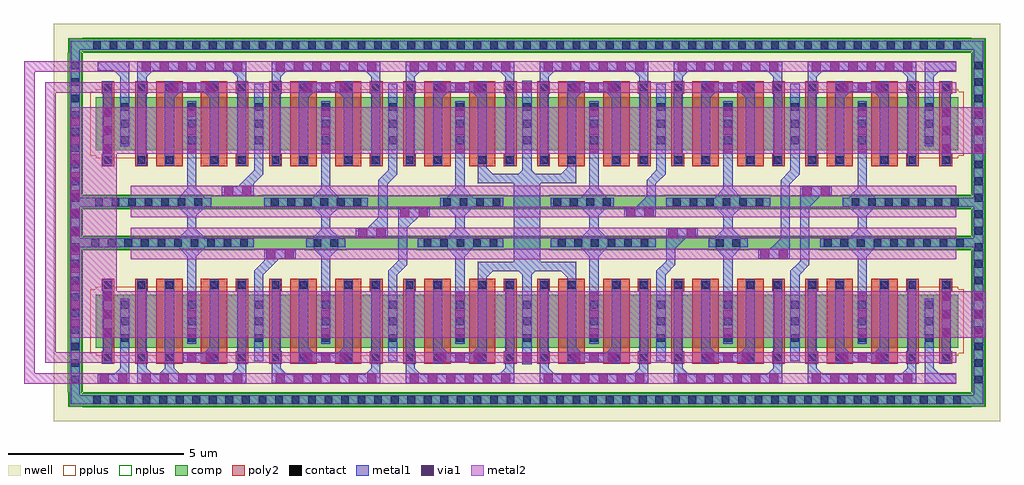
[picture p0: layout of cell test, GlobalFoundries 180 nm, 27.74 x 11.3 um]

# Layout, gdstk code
import gdstk
lib = gdstk.Library(unit=1e-6, precision=1e-09)
def R(c, l, rs):  # rectangles x0, y0, x1, y1
    for r in rs: c.add(gdstk.rectangle(r[:2], r[2:], *l))
def A(c, l, x, y, w, h, nx, ny, dx, dy):  # array of equal rectangles
    R(c, l, [(x+i*dx, y+j*dy, x+i*dx+w, y+j*dy+h) for i in range(nx) for j in range(ny)])
def P(c, l, *ps):  # polygons
    for p in ps: c.add(gdstk.Polygon(p, *l))
nwell = (21, 0)
comp = (22, 0)
poly2 = (30, 0)
pplus = (31, 0)
nplus = (32, 0)
contact = (33, 0)
metal1 = (34, 0)
via1 = (35, 0)
metal2 = (36, 0)

test = lib.new_cell('test')
R(test, nwell, [(8.07,10.815,34.96,22.115)])
R(test, comp, [(8.5,11.245,34.53,11.605), (8.5,11.605,8.86,15.705), (34.17,11.605,34.53,15.705), (9.26,12.905,33.77,14.405), (8.5,15.705,34.53,16.065), (8.5,16.065,8.86,16.865), (34.17,16.065,34.53,16.865), (8.5,16.865,34.53,17.225), (8.5,17.225,8.86,21.325), (34.17,17.225,34.53,21.325), (9.26,18.525,33.77,20.025), (8.5,21.325,34.53,21.685)])
R(test, poly2, [(9.43,12.445,9.79,12.805), (10.38,12.445,10.74,12.805), (10.98,12.445,11.73,14.865), (12.25,12.445,13,14.865), (13.24,12.445,13.6,12.805), (14.19,12.445,14.55,12.805), (14.79,12.445,15.54,14.865), (16.06,12.445,16.81,14.865), (17.05,12.445,17.41,12.805), (18,12.445,18.36,12.805), (18.6,12.445,19.35,14.865), (19.87,12.445,20.62,14.865), (20.86,12.445,21.22,12.805), (21.81,12.445,22.17,12.805), (22.41,12.445,23.16,14.865), (23.68,12.445,24.43,14.865), (24.67,12.445,25.03,12.805), (25.62,12.445,25.98,12.805), (26.22,12.445,26.97,14.865), (27.49,12.445,28.24,14.865), (28.48,12.445,28.84,12.805), (29.43,12.445,29.79,12.805), (30.03,12.445,30.78,14.865), (31.3,12.445,32.05,14.865), (32.29,12.445,32.65,12.805), (33.24,12.445,33.6,12.805), (9.49,12.805,9.79,14.505), (10.38,12.805,10.68,14.505), (13.3,12.805,13.6,14.505), (14.19,12.805,14.49,14.505), (17.11,12.805,17.41,14.505), (18,12.805,18.3,14.505), (20.92,12.805,21.22,14.505), (21.81,12.805,22.11,14.505), (24.73,12.805,25.03,14.505), (25.62,12.805,25.92,14.505), (28.54,12.805,28.84,14.505), (29.43,12.805,29.73,14.505), (32.35,12.805,32.65,14.505), (33.24,12.805,33.54,14.505), (9.43,14.505,9.79,14.865), (10.38,14.505,10.74,14.865), (13.24,14.505,13.6,14.865), (14.19,14.505,14.55,14.865), (17.05,14.505,17.41,14.865), (18,14.505,18.36,14.865), (20.86,14.505,21.22,14.865), (21.81,14.505,22.17,14.865), (24.67,14.505,25.03,14.865), (25.62,14.505,25.98,14.865), (28.48,14.505,28.84,14.865), (29.43,14.505,29.79,14.865), (32.29,14.505,32.65,14.865), (33.24,14.505,33.6,14.865), (9.43,18.065,9.79,18.425), (10.38,18.065,10.74,18.425), (10.98,18.065,11.73,20.485), (12.25,18.065,13,20.485), (13.24,18.065,13.6,18.425), (14.19,18.065,14.55,18.425), (14.79,18.065,15.54,20.485), (16.06,18.065,16.81,20.485), (17.05,18.065,17.41,18.425), (18,18.065,18.36,18.425), (18.6,18.065,19.35,20.485), (19.87,18.065,20.62,20.485), (20.86,18.065,21.22,18.425), (21.81,18.065,22.17,18.425), (22.41,18.065,23.16,20.485), (23.68,18.065,24.43,20.485), (24.67,18.065,25.03,18.425), (25.62,18.065,25.98,18.425), (26.22,18.065,26.97,20.485), (27.49,18.065,28.24,20.485), (28.48,18.065,28.84,18.425), (29.43,18.065,29.79,18.425), (30.03,18.065,30.78,20.485), (31.3,18.065,32.05,20.485), (32.29,18.065,32.65,18.425), (33.24,18.065,33.6,18.425), (9.49,18.425,9.79,20.125), (10.38,18.425,10.68,20.125), (13.3,18.425,13.6,20.125), (14.19,18.425,14.49,20.125), (17.11,18.425,17.41,20.125), (18,18.425,18.3,20.125), (20.92,18.425,21.22,20.125), (21.81,18.425,22.11,20.125), (24.73,18.425,25.03,20.125), (25.62,18.425,25.92,20.125), (28.54,18.425,28.84,20.125), (29.43,18.425,29.73,20.125), (32.35,18.425,32.65,20.125), (33.24,18.425,33.54,20.125), (9.43,20.125,9.79,20.485), (10.38,20.125,10.74,20.485), (13.24,20.125,13.6,20.485), (14.19,20.125,14.55,20.485), (17.05,20.125,17.41,20.485), (18,20.125,18.36,20.485), (20.86,20.125,21.22,20.485), (21.81,20.125,22.17,20.485), (24.67,20.125,25.03,20.485), (25.62,20.125,25.98,20.485), (28.48,20.125,28.84,20.485), (29.43,20.125,29.79,20.485), (32.29,20.125,32.65,20.485), (33.24,20.125,33.6,20.485)])
R(test, pplus, [(9.26,12.675,33.77,12.745), (9.1,12.745,33.93,14.565), (9.26,14.565,33.77,14.635), (9.26,18.295,33.77,18.365), (9.1,18.365,33.93,20.185), (9.26,20.185,33.77,20.255)])
R(test, nplus, [(8.89,11.215,34.14,11.225), (8.48,11.225,34.55,11.635), (8.47,11.635,8.89,15.675), (34.14,11.635,34.56,15.675), (8.47,15.675,13.785,15.685), (15.205,15.675,16.395,15.685), (18.375,15.675,20.88,15.685), (22.15,15.675,25.215,15.685), (26.635,15.675,27.825,15.685), (29.805,15.675,34.56,15.685), (8.47,15.685,34.56,16.085), (8.47,16.085,13.785,16.095), (15.205,16.085,16.395,16.095), (18.375,16.085,20.88,16.095), (22.15,16.085,25.215,16.095), (26.635,16.085,27.825,16.095), (29.805,16.085,34.56,16.095), (8.47,16.095,8.89,16.835), (34.14,16.095,34.56,16.835), (8.47,16.835,12.585,16.845), (14.005,16.835,17.035,16.845), (19.015,16.835,20.88,16.845), (22.15,16.835,24.015,16.845), (25.435,16.835,28.465,16.845), (30.445,16.835,34.56,16.845), (8.47,16.845,34.56,17.245), (8.47,17.245,12.585,17.255), (14.005,17.245,17.035,17.255), (19.015,17.245,20.88,17.255), (22.15,17.245,24.015,17.255), (25.435,17.245,28.465,17.255), (30.445,17.245,34.56,17.255), (8.47,17.255,8.89,21.295), (34.14,17.255,34.56,21.295), (8.48,21.295,34.55,21.705), (8.89,21.705,34.14,21.715)])
A(test, contact, 9.185, 11.315, 0.22, 0.22, 53, 2, 0.47, 10.08)
A(test, contact, 8.57, 11.89, 0.22, 0.22, 1, 20, 0, 0.47)
A(test, contact, 34.24, 11.89, 0.22, 0.22, 1, 20, 0, 0.47)
A(test, contact, 9.975, 13.075, 0.22, 0.22, 13, 3, 1.905, 0.47)
A(test, contact, 9.135, 15.775, 0.22, 0.22, 10, 1, 0.47, 0)
A(test, contact, 18.575, 15.775, 0.22, 0.22, 5, 1, 0.47, 0)
A(test, contact, 22.395, 15.775, 0.22, 0.22, 6, 1, 0.47, 0)
A(test, contact, 29.955, 15.775, 0.22, 0.22, 9, 1, 0.47, 0)
A(test, contact, 9.24, 16.935, 0.22, 0.22, 7, 1, 0.47, 0)
A(test, contact, 14.235, 16.935, 0.22, 0.22, 6, 1, 0.47, 0)
A(test, contact, 19.13, 16.935, 0.22, 0.22, 4, 1, 0.47, 0)
A(test, contact, 22.265, 16.935, 0.22, 0.22, 4, 1, 0.47, 0)
A(test, contact, 25.665, 16.935, 0.22, 0.22, 6, 1, 0.47, 0)
A(test, contact, 30.745, 16.935, 0.22, 0.22, 7, 1, 0.47, 0)
A(test, contact, 9.975, 18.695, 0.22, 0.22, 13, 3, 1.905, 0.47)
R(test, contact, [(9.5,12.515,9.72,12.735), (10.45,12.515,10.67,12.735), (11.245,12.515,11.465,12.735), (12.515,12.515,12.735,12.735), (13.31,12.515,13.53,12.735), (14.26,12.515,14.48,12.735), (15.055,12.515,15.275,12.735), (16.325,12.515,16.545,12.735), (17.12,12.515,17.34,12.735), (18.07,12.515,18.29,12.735), (18.865,12.515,19.085,12.735), (20.135,12.515,20.355,12.735), (20.93,12.515,21.15,12.735), (21.88,12.515,22.1,12.735), (22.675,12.515,22.895,12.735), (23.945,12.515,24.165,12.735), (24.74,12.515,24.96,12.735), (25.69,12.515,25.91,12.735), (26.485,12.515,26.705,12.735), (27.755,12.515,27.975,12.735), (28.55,12.515,28.77,12.735), (29.5,12.515,29.72,12.735), (30.295,12.515,30.515,12.735), (31.565,12.515,31.785,12.735), (32.36,12.515,32.58,12.735), (33.31,12.515,33.53,12.735), (9.5,14.575,9.72,14.795), (10.45,14.575,10.67,14.795), (11.245,14.575,11.465,14.795), (12.515,14.575,12.735,14.795), (13.31,14.575,13.53,14.795), (14.26,14.575,14.48,14.795), (15.055,14.575,15.275,14.795), (16.325,14.575,16.545,14.795), (17.12,14.575,17.34,14.795), (18.07,14.575,18.29,14.795), (18.865,14.575,19.085,14.795), (20.135,14.575,20.355,14.795), (20.93,14.575,21.15,14.795), (21.88,14.575,22.1,14.795), (22.675,14.575,22.895,14.795), (23.945,14.575,24.165,14.795), (24.74,14.575,24.96,14.795), (25.69,14.575,25.91,14.795), (26.485,14.575,26.705,14.795), (27.755,14.575,27.975,14.795), (28.55,14.575,28.77,14.795), (29.5,14.575,29.72,14.795), (30.295,14.575,30.515,14.795), (31.565,14.575,31.785,14.795), (32.36,14.575,32.58,14.795), (33.31,14.575,33.53,14.795), (15.455,15.775,15.675,15.995), (15.925,15.775,16.145,15.995), (26.885,15.775,27.105,15.995), (27.355,15.775,27.575,15.995), (9.5,18.135,9.72,18.355), (10.45,18.135,10.67,18.355), (11.245,18.135,11.465,18.355), (12.515,18.135,12.735,18.355), (13.31,18.135,13.53,18.355), (14.26,18.135,14.48,18.355), (15.055,18.135,15.275,18.355), (16.325,18.135,16.545,18.355), (17.12,18.135,17.34,18.355), (18.07,18.135,18.29,18.355), (18.865,18.135,19.085,18.355), (20.135,18.135,20.355,18.355), (20.93,18.135,21.15,18.355), (21.88,18.135,22.1,18.355), (22.675,18.135,22.895,18.355), (23.945,18.135,24.165,18.355), (24.74,18.135,24.96,18.355), (25.69,18.135,25.91,18.355), (26.485,18.135,26.705,18.355), (27.755,18.135,27.975,18.355), (28.55,18.135,28.77,18.355), (29.5,18.135,29.72,18.355), (30.295,18.135,30.515,18.355), (31.565,18.135,31.785,18.355), (32.36,18.135,32.58,18.355), (33.31,18.135,33.53,18.355), (9.5,20.195,9.72,20.415), (10.45,20.195,10.67,20.415), (11.245,20.195,11.465,20.415), (12.515,20.195,12.735,20.415), (13.31,20.195,13.53,20.415), (14.26,20.195,14.48,20.415), (15.055,20.195,15.275,20.415), (16.325,20.195,16.545,20.415), (17.12,20.195,17.34,20.415), (18.07,20.195,18.29,20.415), (18.865,20.195,19.085,20.415), (20.135,20.195,20.355,20.415), (20.93,20.195,21.15,20.415), (21.88,20.195,22.1,20.415), (22.675,20.195,22.895,20.415), (23.945,20.195,24.165,20.415), (24.74,20.195,24.96,20.415), (25.69,20.195,25.91,20.415), (26.485,20.195,26.705,20.415), (27.755,20.195,27.975,20.415), (28.55,20.195,28.77,20.415), (29.5,20.195,29.72,20.415), (30.295,20.195,30.515,20.415), (31.565,20.195,31.785,20.415), (32.36,20.195,32.58,20.415), (33.31,20.195,33.53,20.415)])
A(test, metal1, 10.445, 11.895, 3.09, 0.26, 6, 2, 3.81, 8.88)
A(test, metal1, 15.035, 12.495, 1.53, 0.26, 5, 1, 3.81, 0)
A(test, metal1, 19.48, 13.015, 0.26, 2.7, 4, 1, 3.81, 0)
A(test, metal1, 11.64, 15.715, 0.7, 0.04, 6, 2, 3.81, 0.3)
A(test, metal1, 11.86, 16.055, 0.26, 0.82, 6, 1, 3.81, 0)
A(test, metal1, 11.64, 16.875, 0.7, 0.04, 6, 2, 3.81, 0.3)
A(test, metal1, 19.48, 17.215, 0.26, 2.7, 3, 1, 3.81, 0)
A(test, metal1, 11.225, 20.175, 1.53, 0.26, 6, 1, 3.81, 0)
R(test, metal1, [(8.55,11.295,34.48,11.555), (8.55,11.555,8.81,15.755), (34.22,11.555,34.48,15.755), (9.315,11.895,10.215,12.155), (32.815,11.895,33.715,12.155), (9.955,12.155,10.215,14.295), (10.445,12.155,10.705,14.855), (11.225,12.155,11.485,14.855), (13.275,12.155,13.535,14.855), (14.255,12.155,14.515,14.855), (17.085,12.155,17.345,14.855), (18.065,12.155,18.325,14.855), (20.895,12.155,21.155,14.855), (21.875,12.155,22.135,14.855), (24.705,12.155,24.965,14.855), (25.685,12.155,25.945,14.855), (28.515,12.155,28.775,14.855), (29.495,12.155,29.755,14.855), (32.325,12.155,32.585,14.855), (32.815,12.155,33.075,14.295), (21.385,12.435,21.645,15.085), (9.465,12.455,9.725,14.855), (12.495,12.455,12.755,12.495), (15.035,12.455,15.295,12.495), (16.305,12.455,16.565,12.495), (18.845,12.455,19.105,12.495), (20.115,12.455,20.375,12.495), (22.655,12.455,22.915,12.495), (23.925,12.455,24.185,12.495), (26.465,12.455,26.725,12.495), (27.735,12.455,27.995,12.495), (30.275,12.455,30.535,12.495), (31.545,12.455,31.805,12.495), (33.305,12.455,33.565,14.855), (11.745,12.495,12.755,12.755), (13.765,12.515,14.025,15.095), (17.575,12.515,17.835,15.095), (25.195,12.515,25.455,15.095), (29.005,12.515,29.265,15.095), (12.495,12.755,12.755,14.855), (15.035,12.755,15.295,14.855), (16.305,12.755,16.565,14.855), (18.845,12.755,19.105,14.855), (20.115,12.755,20.375,15.085), (22.655,12.755,22.915,14.985), (23.925,12.755,24.185,14.855), (26.465,12.755,26.725,14.855), (27.735,12.755,27.995,14.855), (30.275,12.755,30.535,14.855), (31.545,12.755,31.805,14.855), (11.86,13.015,12.12,15.715), (15.67,13.015,15.93,15.695), (22.585,14.985,22.915,15.085), (20.115,15.085,22.915,15.345), (13.995,15.095,14.025,15.265), (17.805,15.095,17.835,15.265), (25.425,15.095,25.455,15.265), (29.235,15.095,29.265,15.265), (13.995,15.265,14.305,15.325), (17.805,15.265,18.115,15.325), (25.425,15.265,25.735,15.325), (29.235,15.265,29.545,15.325), (14.045,15.325,14.305,15.435), (17.855,15.325,18.115,16.635), (25.475,15.325,25.735,15.77), (29.285,15.325,29.545,16.93), (21.14,15.345,21.89,17.585), (14.045,15.435,14.945,15.695), (28.085,15.435,28.985,15.695), (15.47,15.695,15.93,15.715), (28.465,15.695,28.985,15.755), (8.55,15.755,13.745,16.015), (15.245,15.755,16.355,16.015), (18.415,15.755,20.84,16.015), (22.19,15.755,25.175,16.015), (26.675,15.755,27.785,16.015), (28.48,15.755,28.985,15.77), (29.845,15.755,34.48,16.015), (25.475,15.77,25.79,16), (28.71,15.77,28.985,16), (25.475,16,26.02,16.035), (28.725,16,28.985,17.605), (8.55,16.015,8.81,16.915), (34.22,16.015,34.48,16.915), (16.655,16.035,17.555,16.295), (25.475,16.035,26.375,16.295), (17.295,16.295,17.555,17.65), (17.855,16.635,18.755,16.895), (24.275,16.635,25.175,16.895), (24.615,16.895,25.175,16.915), (8.55,16.915,12.545,17.175), (14.045,16.915,16.995,17.175), (19.055,16.915,20.84,17.175), (22.19,16.915,23.975,17.175), (24.63,16.915,25.175,16.93), (25.475,16.915,28.425,17.175), (30.485,16.915,34.48,17.175), (24.86,16.93,25.175,17.16), (29.285,16.93,29.56,17.16), (24.875,17.16,25.175,17.175), (29.285,17.16,29.79,17.235), (8.55,17.175,8.81,21.375), (24.915,17.175,25.175,17.605), (34.22,17.175,34.48,21.375), (11.86,17.215,12.12,19.915), (15.47,17.215,15.93,17.235), (30.71,17.215,31.17,17.235), (12.845,17.235,13.745,17.495), (15.67,17.235,15.93,19.915), (29.285,17.235,30.185,17.495), (30.91,17.235,31.17,19.915), (13.485,17.495,13.745,17.605), (20.115,17.585,22.915,17.845), (13.485,17.605,13.795,17.665), (24.915,17.605,25.225,17.665), (28.725,17.605,29.035,17.665), (17.295,17.65,17.65,17.665), (13.765,17.665,13.795,17.835), (17.575,17.665,17.65,17.835), (25.195,17.665,25.225,17.835), (29.005,17.665,29.035,17.835), (13.765,17.835,14.025,20.415), (17.575,17.835,17.835,20.415), (25.195,17.835,25.455,20.415), (29.005,17.835,29.265,20.415), (20.115,17.845,20.375,20.175), (21.385,17.845,21.645,20.495), (22.585,17.845,22.915,17.945), (22.655,17.945,22.915,20.175), (9.465,18.075,9.725,20.475), (10.445,18.075,10.705,20.775), (11.225,18.075,11.485,20.175), (12.495,18.075,12.755,20.175), (13.275,18.075,13.535,20.775), (14.255,18.075,14.515,20.775), (15.035,18.075,15.295,20.175), (16.305,18.075,16.565,20.175), (17.085,18.075,17.345,20.775), (18.065,18.075,18.325,20.775), (18.845,18.075,19.105,20.175), (20.895,18.075,21.155,20.775), (21.875,18.075,22.135,20.775), (23.925,18.075,24.185,20.175), (24.705,18.075,24.965,20.775), (25.685,18.075,25.945,20.775), (26.465,18.075,26.725,20.175), (27.735,18.075,27.995,20.175), (28.515,18.075,28.775,20.775), (29.495,18.075,29.755,20.775), (30.275,18.075,30.535,20.175), (31.545,18.075,31.805,20.175), (32.325,18.075,32.585,20.775), (33.305,18.075,33.565,20.475), (9.955,18.635,10.215,20.775), (32.815,18.635,33.075,20.775), (11.225,20.435,11.485,20.475), (12.495,20.435,12.755,20.475), (15.035,20.435,15.295,20.475), (16.305,20.435,16.565,20.475), (18.845,20.435,19.105,20.475), (20.115,20.435,20.375,20.475), (22.655,20.435,22.915,20.475), (23.925,20.435,24.185,20.475), (26.465,20.435,26.725,20.475), (27.735,20.435,27.995,20.475), (30.275,20.435,30.535,20.475), (31.545,20.435,31.805,20.475), (9.315,20.775,10.215,21.035), (32.815,20.775,33.715,21.035), (8.55,21.375,34.48,21.635)])
P(test, metal1, [(9.785,20.775),(9.955,20.775),(9.955,20.605)],
  [(10.705,20.605),(10.705,20.775),(10.875,20.775)],
  [(13.105,20.775),(13.275,20.775),(13.275,20.605)],
  [(11.485,20.005),(11.485,20.175),(11.655,20.175)],
  [(12.325,20.175),(12.495,20.175),(12.495,20.005)],
  [(11.64,17.215),(11.86,17.215),(11.86,17.435)],
  [(13.485,17.665),(13.765,17.665),(13.765,17.945)],
  [(14.515,20.605),(14.515,20.775),(14.685,20.775)],
  [(16.915,20.775),(17.085,20.775),(17.085,20.605)],
  [(15.295,20.005),(15.295,20.175),(15.465,20.175)],
  [(16.135,20.175),(16.305,20.175),(16.305,20.005)],
  [(13.315,17.495),(13.485,17.495),(13.485,17.665)],
  [(13.795,17.605),(13.795,17.835),(14.025,17.835)],
  [(13.745,17.555),(13.745,17.605),(13.795,17.605)],
  [(12.12,17.435),(12.12,17.215),(12.34,17.215)],
  [(15.47,17.235),(15.67,17.235),(15.67,17.435)],
  [(17.295,17.665),(17.575,17.665),(17.575,17.945)],
  [(18.325,20.605),(18.325,20.775),(18.495,20.775)],
  [(20.725,20.775),(20.895,20.775),(20.895,20.605)],
  [(19.105,20.005),(19.105,20.175),(19.275,20.175)],
  [(19.945,20.175),(20.115,20.175),(20.115,20.005)],
  [(17.65,17.65),(17.65,17.835),(17.835,17.835)],
  [(15.45,17.215),(15.47,17.215),(15.47,17.235)],
  [(15.93,17.435),(15.93,17.215),(16.15,17.215)],
  [(11.64,16.875),(11.86,16.875),(11.86,16.655)],
  [(11.64,16.055),(11.86,16.055),(11.86,16.275)],
  [(12.12,16.655),(12.12,16.875),(12.34,16.875)],
  [(15.45,16.875),(15.67,16.875),(15.67,16.655)],
  [(12.12,16.275),(12.12,16.055),(12.34,16.055)],
  [(15.45,16.055),(15.67,16.055),(15.67,16.275)],
  [(15.93,16.655),(15.93,16.875),(16.15,16.875)],
  [(16.975,16.295),(17.295,16.295),(17.295,16.615)],
  [(17.555,17.555),(17.555,17.65),(17.65,17.65)],
  [(19.26,17.215),(19.48,17.215),(19.48,17.435)],
  [(20.375,18.015),(20.375,17.845),(20.545,17.845)],
  [(21.285,17.845),(21.385,17.845),(21.385,17.945)],
  [(22.135,20.605),(22.135,20.775),(22.305,20.775)],
  [(24.535,20.775),(24.705,20.775),(24.705,20.605)],
  [(22.585,17.945),(22.655,17.945),(22.655,18.015)],
  [(22.915,20.005),(22.915,20.175),(23.085,20.175)],
  [(23.755,20.175),(23.925,20.175),(23.925,20.005)],
  [(21.645,17.945),(21.645,17.845),(21.745,17.845)],
  [(22.485,17.845),(22.585,17.845),(22.585,17.945)],
  [(19.74,17.435),(19.74,17.215),(19.96,17.215)],
  [(15.93,16.275),(15.93,16.055),(16.15,16.055)],
  [(19.26,16.875),(19.48,16.875),(19.48,16.655)],
  [(11.64,15.715),(11.86,15.715),(11.86,15.495)],
  [(9.785,12.155),(9.955,12.155),(9.955,12.325)],
  [(10.705,12.325),(10.705,12.155),(10.875,12.155)],
  [(11.055,12.155),(11.225,12.155),(11.225,12.325)],
  [(12.12,15.495),(12.12,15.715),(12.34,15.715)],
  [(15.45,15.715),(15.47,15.715),(15.47,15.695)],
  [(15.47,15.695),(15.67,15.695),(15.67,15.495)],
  [(13.995,15.325),(14.045,15.325),(14.045,15.375)],
  [(13.765,15.095),(13.995,15.095),(13.995,15.325)],
  [(14.305,15.265),(14.305,15.435),(14.475,15.435)],
  [(12.325,12.755),(12.495,12.755),(12.495,12.925)],
  [(11.485,12.325),(11.485,12.155),(11.655,12.155)],
  [(13.105,12.155),(13.275,12.155),(13.275,12.325)],
  [(14.025,14.985),(14.025,15.265),(14.305,15.265)],
  [(15.93,15.495),(15.93,15.715),(16.15,15.715)],
  [(17.805,15.325),(17.855,15.325),(17.855,15.375)],
  [(18.115,16.315),(18.115,16.635),(18.435,16.635)],
  [(19.26,16.055),(19.48,16.055),(19.48,16.275)],
  [(19.74,16.655),(19.74,16.875),(19.96,16.875)],
  [(19.74,16.275),(19.74,16.055),(19.96,16.055)],
  [(19.26,15.715),(19.48,15.715),(19.48,15.495)],
  [(17.575,15.095),(17.805,15.095),(17.805,15.325)],
  [(15.295,12.925),(15.295,12.755),(15.465,12.755)],
  [(16.135,12.755),(16.305,12.755),(16.305,12.925)],
  [(14.515,12.325),(14.515,12.155),(14.685,12.155)],
  [(16.915,12.155),(17.085,12.155),(17.085,12.325)],
  [(17.835,14.985),(17.835,15.265),(18.115,15.265)],
  [(19.74,15.495),(19.74,15.715),(19.96,15.715)],
  [(23.07,17.215),(23.29,17.215),(23.29,17.435)],
  [(24.915,17.665),(25.195,17.665),(25.195,17.945)],
  [(25.945,20.605),(25.945,20.775),(26.115,20.775)],
  [(28.345,20.775),(28.515,20.775),(28.515,20.605)],
  [(26.725,20.005),(26.725,20.175),(26.895,20.175)],
  [(27.565,20.175),(27.735,20.175),(27.735,20.005)],
  [(25.225,17.605),(25.225,17.835),(25.455,17.835)],
  [(23.55,17.435),(23.55,17.215),(23.77,17.215)],
  [(24.875,17.175),(24.915,17.175),(24.915,17.215)],
  [(25.175,17.555),(25.175,17.605),(25.225,17.605)],
  [(26.88,17.215),(27.1,17.215),(27.1,17.435)],
  [(28.725,17.665),(29.005,17.665),(29.005,17.945)],
  [(29.755,20.605),(29.755,20.775),(29.925,20.775)],
  [(32.155,20.775),(32.325,20.775),(32.325,20.605)],
  [(30.535,20.005),(30.535,20.175),(30.705,20.175)],
  [(31.375,20.175),(31.545,20.175),(31.545,20.005)],
  [(29.035,17.605),(29.035,17.835),(29.265,17.835)],
  [(27.36,17.435),(27.36,17.215),(27.58,17.215)],
  [(24.86,17.16),(24.875,17.16),(24.875,17.175)],
  [(24.63,16.93),(24.86,16.93),(24.86,17.16)],
  [(24.615,16.915),(24.63,16.915),(24.63,16.93)],
  [(24.595,16.895),(24.615,16.895),(24.615,16.915)],
  [(23.07,16.875),(23.29,16.875),(23.29,16.655)],
  [(23.07,16.055),(23.29,16.055),(23.29,16.275)],
  [(23.55,16.655),(23.55,16.875),(23.77,16.875)],
  [(26.88,16.875),(27.1,16.875),(27.1,16.655)],
  [(23.55,16.275),(23.55,16.055),(23.77,16.055)],
  [(26.88,16.055),(27.1,16.055),(27.1,16.275)],
  [(27.36,16.655),(27.36,16.875),(27.58,16.875)],
  [(27.36,16.275),(27.36,16.055),(27.58,16.055)],
  [(26.02,16),(26.02,16.035),(26.055,16.035)],
  [(25.79,15.77),(25.79,16),(26.02,16)],
  [(23.07,15.715),(23.29,15.715),(23.29,15.495)],
  [(19.105,12.925),(19.105,12.755),(19.275,12.755)],
  [(19.945,12.755),(20.115,12.755),(20.115,12.925)],
  [(20.375,14.915),(20.375,15.085),(20.545,15.085)],
  [(21.285,15.085),(21.385,15.085),(21.385,14.985)],
  [(18.325,12.325),(18.325,12.155),(18.495,12.155)],
  [(20.725,12.155),(20.895,12.155),(20.895,12.325)],
  [(21.645,14.985),(21.645,15.085),(21.745,15.085)],
  [(22.485,15.085),(22.585,15.085),(22.585,14.985)],
  [(22.585,14.985),(22.655,14.985),(22.655,14.915)],
  [(23.55,15.495),(23.55,15.715),(23.77,15.715)],
  [(25.425,15.325),(25.475,15.325),(25.475,15.375)],
  [(25.735,15.715),(25.735,15.77),(25.79,15.77)],
  [(28.71,16),(28.725,16),(28.725,16.015)],
  [(28.985,17.555),(28.985,17.605),(29.035,17.605)],
  [(28.48,15.77),(28.71,15.77),(28.71,16)],
  [(28.465,15.755),(28.48,15.755),(28.48,15.77)],
  [(26.88,15.715),(27.1,15.715),(27.1,15.495)],
  [(25.195,15.095),(25.425,15.095),(25.425,15.325)],
  [(22.915,12.925),(22.915,12.755),(23.085,12.755)],
  [(23.755,12.755),(23.925,12.755),(23.925,12.925)],
  [(22.135,12.325),(22.135,12.155),(22.305,12.155)],
  [(24.535,12.155),(24.705,12.155),(24.705,12.325)],
  [(25.455,14.985),(25.455,15.265),(25.735,15.265)],
  [(27.36,15.495),(27.36,15.715),(27.58,15.715)],
  [(28.405,15.695),(28.465,15.695),(28.465,15.755)],
  [(30.71,17.235),(30.91,17.235),(30.91,17.435)],
  [(33.075,20.605),(33.075,20.775),(33.245,20.775)],
  [(29.79,17.16),(29.79,17.235),(29.865,17.235)],
  [(30.69,17.215),(30.71,17.215),(30.71,17.235)],
  [(31.17,17.435),(31.17,17.215),(31.39,17.215)],
  [(29.56,16.93),(29.56,17.16),(29.79,17.16)],
  [(29.235,15.325),(29.285,15.325),(29.285,15.375)],
  [(29.545,16.915),(29.545,16.93),(29.56,16.93)],
  [(30.69,16.875),(30.91,16.875),(30.91,16.655)],
  [(30.69,16.055),(30.91,16.055),(30.91,16.275)],
  [(31.17,16.655),(31.17,16.875),(31.39,16.875)],
  [(31.17,16.275),(31.17,16.055),(31.39,16.055)],
  [(30.69,15.715),(30.91,15.715),(30.91,15.495)],
  [(29.005,15.095),(29.235,15.095),(29.235,15.325)],
  [(26.725,12.925),(26.725,12.755),(26.895,12.755)],
  [(27.565,12.755),(27.735,12.755),(27.735,12.925)],
  [(25.945,12.325),(25.945,12.155),(26.115,12.155)],
  [(28.345,12.155),(28.515,12.155),(28.515,12.325)],
  [(29.265,14.985),(29.265,15.265),(29.545,15.265)],
  [(31.17,15.495),(31.17,15.715),(31.39,15.715)],
  [(30.535,12.925),(30.535,12.755),(30.705,12.755)],
  [(31.375,12.755),(31.545,12.755),(31.545,12.925)],
  [(29.755,12.325),(29.755,12.155),(29.925,12.155)],
  [(32.155,12.155),(32.325,12.155),(32.325,12.325)],
  [(33.075,12.325),(33.075,12.155),(33.245,12.155)])
A(test, via1, 10.56, 11.895, 0.26, 0.26, 6, 2, 0.52, 8.88)
A(test, via1, 14.37, 11.895, 0.26, 0.26, 6, 2, 0.52, 8.88)
A(test, via1, 18.18, 11.895, 0.26, 0.26, 6, 2, 0.52, 8.88)
A(test, via1, 21.99, 11.895, 0.26, 0.26, 6, 2, 0.52, 8.88)
A(test, via1, 25.8, 11.895, 0.26, 0.26, 6, 2, 0.52, 8.88)
A(test, via1, 29.61, 11.895, 0.26, 0.26, 6, 2, 0.52, 8.88)
A(test, via1, 15.15, 12.495, 0.26, 0.26, 3, 2, 0.52, 7.68)
A(test, via1, 18.96, 12.495, 0.26, 0.26, 3, 2, 0.52, 7.68)
A(test, via1, 22.77, 12.495, 0.26, 0.26, 3, 2, 0.52, 7.68)
A(test, via1, 26.58, 12.495, 0.26, 0.26, 3, 2, 0.52, 7.68)
A(test, via1, 30.39, 12.495, 0.26, 0.26, 3, 2, 0.52, 7.68)
A(test, via1, 9.465, 13.205, 0.26, 0.26, 1, 3, 0, 0.52)
A(test, via1, 11.86, 13.205, 0.26, 0.26, 6, 3, 3.81, 0.52)
A(test, via1, 33.305, 13.205, 0.26, 0.26, 1, 3, 0, 0.52)
A(test, via1, 34.22, 13.205, 0.26, 0.26, 1, 3, 0, 0.52)
A(test, via1, 8.55, 13.475, 0.26, 0.26, 1, 12, 0, 0.52)
A(test, via1, 9.465, 18.425, 0.26, 0.26, 1, 3, 0, 0.52)
A(test, via1, 11.86, 18.425, 0.26, 0.26, 6, 3, 3.81, 0.52)
A(test, via1, 33.305, 18.425, 0.26, 0.26, 1, 3, 0, 0.52)
A(test, via1, 34.22, 18.425, 0.26, 0.26, 1, 3, 0, 0.52)
A(test, via1, 11.34, 20.175, 0.26, 0.26, 3, 1, 0.52, 0)
R(test, via1, [(9.375,11.895,9.635,12.155), (9.895,11.895,10.155,12.155), (11.86,12.495,12.12,12.755), (12.38,12.495,12.64,12.755), (21.385,12.495,21.645,12.755), (14.105,15.435,14.365,15.695), (14.625,15.435,14.885,15.695), (28.145,15.435,28.405,15.695), (28.665,15.435,28.925,15.695), (16.715,16.035,16.975,16.295), (17.235,16.035,17.495,16.295), (25.535,16.035,25.795,16.295), (26.055,16.035,26.315,16.295), (17.915,16.635,18.175,16.895), (18.435,16.635,18.695,16.895), (24.335,16.635,24.595,16.895), (24.855,16.635,25.115,16.895), (12.905,17.235,13.165,17.495), (13.425,17.235,13.685,17.495), (29.345,17.235,29.605,17.495), (29.865,17.235,30.125,17.495), (21.385,20.175,21.645,20.435)])
A(test, metal2, 10.26, 15.415, 23.455, 0.3, 1, 4, 0, 0.6)
R(test, metal2, [(7.22,11.875,33.715,12.175), (7.22,12.175,7.52,20.755), (7.82,12.475,33.715,12.775), (7.82,12.775,8.12,20.155), (8.54,13.195,34.54,14.515), (8.54,14.515,9.86,18.415), (17.495,16.315,25.3,16.32), (8.54,18.415,34.54,19.735), (7.82,20.155,33.71,20.455), (7.22,20.755,33.715,21.055)])

lib.write_gds('test.gds')
